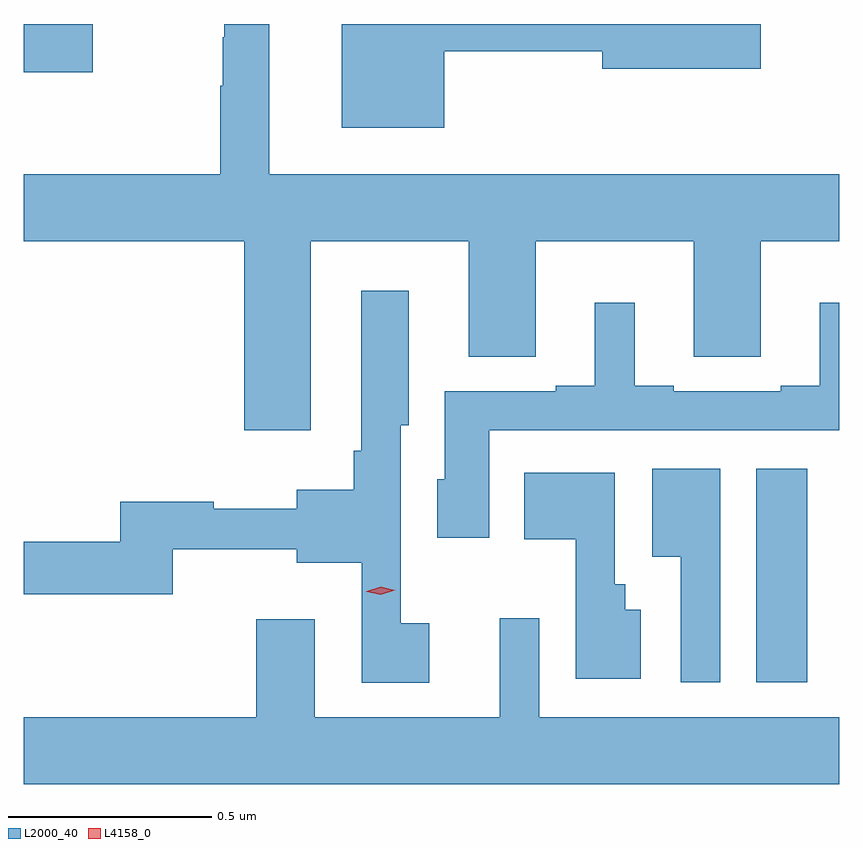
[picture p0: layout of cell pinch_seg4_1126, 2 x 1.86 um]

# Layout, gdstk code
import gdstk
lib = gdstk.Library(unit=1e-6, precision=1e-09)
def R(c, l, rs):  # rectangles x0, y0, x1, y1
    for r in rs: c.add(gdstk.rectangle(r[:2], r[2:], *l))
def P(c, l, *ps):  # polygons
    for p in ps: c.add(gdstk.Polygon(p, *l))
L2000_40 = (2000, 40)
L4158_0 = (4158, 0)

pinch_seg4_1126 = lib.new_cell('pinch_seg4_1126')
R(pinch_seg4_1126, L2000_40, [(421.328,806.394,421.453,806.917), (419.531,807.891,419.7,808.009)])
P(pinch_seg4_1126, L2000_40, [(420.235,807.476),(420.623,807.476),(420.623,807.193),(420.787,807.193),(420.787,807.476),(421.175,807.476),(421.175,807.193),(421.339,807.193),(421.339,807.476),(421.531,807.476),(421.531,807.64),(420.133,807.64),(420.133,808.009),(420.022,808.009),(420.022,807.977),(420.019,807.977),(420.019,807.857),(420.012,807.857),(420.012,807.64),(419.531,807.64),(419.531,807.476),(420.071,807.476),(420.071,807.012),(420.235,807.012)],
  [(420.562,807.942),(420.95,807.942),(420.95,807.899),(421.339,807.899),(421.339,808.009),(420.311,808.009),(420.311,807.755),(420.562,807.755)],
  [(420.526,806.539),(420.456,806.539),(420.456,807.024),(420.475,807.024),(420.475,807.355),(420.359,807.355),(420.359,806.962),(420.34,806.962),(420.34,806.866),(420.2,806.866),(420.2,806.819),(419.997,806.819),(419.997,806.837),(419.767,806.837),(419.767,806.738),(419.531,806.738),(419.531,806.61),(419.896,806.61),(419.896,806.72),(420.2,806.72),(420.2,806.687),(420.36,806.687),(420.36,806.393),(420.526,806.393)],
  [(420.673,807.012),(421.531,807.012),(421.531,807.325),(421.484,807.325),(421.484,807.121),(421.388,807.121),(421.388,807.108),(421.126,807.108),(421.126,807.121),(421.03,807.121),(421.03,807.325),(420.932,807.325),(420.932,807.121),(420.836,807.121),(420.836,807.108),(420.563,807.108),(420.563,806.892),(420.545,806.892),(420.545,806.748),(420.673,806.748)],
  [(421.239,806.917),(421.073,806.917),(421.073,806.702),(421.143,806.702),(421.143,806.394),(421.239,806.394)],
  [(421.045,806.571),(421.006,806.571),(421.006,806.634),(420.981,806.634),(420.981,806.908),(420.758,806.908),(420.758,806.744),(420.885,806.744),(420.885,806.402),(421.045,806.402)],
  [(421.531,806.308),(420.795,806.308),(420.795,806.551),(420.698,806.551),(420.698,806.308),(420.244,806.308),(420.244,806.548),(420.101,806.548),(420.101,806.308),(419.531,806.308),(419.531,806.144),(421.531,806.144)])
P(pinch_seg4_1126, L4158_0, [(420.407,806.608),(420.372,806.616),(420.371,806.616),(420.372,806.617),(420.406,806.628),(420.441,806.62),(420.442,806.62),(420.441,806.62)])

lib.write_gds('pinch_seg4_1126.gds')
